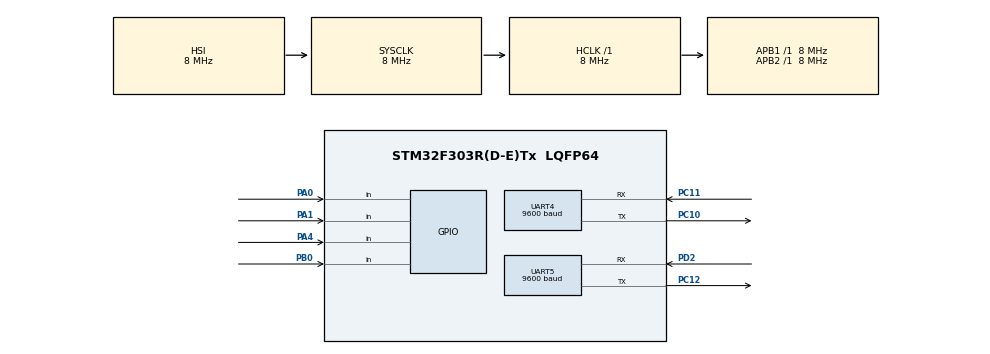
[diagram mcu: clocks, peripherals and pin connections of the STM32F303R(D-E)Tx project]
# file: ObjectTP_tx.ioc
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Mcu.Family=STM32F3
Mcu.Name=STM32F303R(D-E)Tx
Mcu.Package=LQFP64
NVIC.PriorityGroup=NVIC_PRIORITYGROUP_4
NVIC.UART4_IRQn=true\:0\:0\:false\:false\:true\:true\:true
NVIC.UART5_IRQn=true\:0\:0\:false\:false\:true\:true\:true
PA0.GPIO_PuPd=GPIO_PULLDOWN
PA0.Signal=GPIO_Input
PA1.GPIO_PuPd=GPIO_PULLDOWN
PA1.Signal=GPIO_Input
PA4.Signal=GPIO_Input
PB0.Signal=GPIO_Input
PC10.Mode=Asynchronous
PC10.Signal=UART4_TX
PC11.Mode=Asynchronous
PC11.Signal=UART4_RX
PC12.Mode=Asynchronous
PC12.Signal=UART5_TX
PD2.Mode=Asynchronous
PD2.Signal=UART5_RX
PF0-OSC_IN.Mode=HSE-External-Oscillator
PF0-OSC_IN.Signal=RCC_OSC_IN
PF1-OSC_OUT.Mode=HSE-External-Oscillator
PF1-OSC_OUT.Signal=RCC_OSC_OUT
ProjectManager.HeapSize=0x200
ProjectManager.StackSize=0x400
ProjectManager.TargetToolchain=MDK-ARM V5
RCC.AHBFreq_Value=8000000
RCC.APB1Freq_Value=8000000
RCC.APB2Freq_Value=8000000
RCC.CortexFreq_Value=8000000
RCC.HSE_VALUE=8000000
RCC.HSI_VALUE=8000000
RCC.LSE_VALUE=32768
RCC.SYSCLKFreq_VALUE=8000000
RCC.USBFreq_Value=16000000
UART4.BaudRate=9600
UART5.BaudRate=9600
board=custom

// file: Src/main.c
/* USER CODE BEGIN Header */
/**
  ******************************************************************************
  * @file           : main.c
  * @brief          : Main program body
  ******************************************************************************
  * @attention
  *
  * <h2><center>&copy; Copyright (c) 2019 STMicroelectronics.
  * All rights reserved.</center></h2>
  *
  * This software component is licensed by ST under BSD 3-Clause license,
  * the "License"; You may not use this file except in compliance with the
  * License. You may obtain a copy of the License at:
  *                        opensource.org/licenses/BSD-3-Clause
  *
  ******************************************************************************
  */
/* USER CODE END Header */

#include "main.h"

/* USER CODE BEGIN Includes */
#include <stdio.h>
#include <stdlib.h>
#include <math.h>
#include <stdbool.h>
/* USER CODE END Includes */

/* USER CODE BEGIN PD */
#define PI 3.14159265359
#define R 6371008.8

/* USER CODE END PD */

UART_HandleTypeDef huart4;
UART_HandleTypeDef huart5;

/* USER CODE BEGIN PV */
uint8_t rx_data[700];

char latitude_degrees[2];
char longitude_degrees[3];
char latitude_minutes[8];
char longitude_minutes[8];
char tell_time[9];

float Lat_in_DD,Long_in_DD,utc_time;

int x;
float  y;

float Lat0,Long0;
float Lat1,Long1;
float Lat2,Long2;

double lat0,lat1,lat2;
double long0,long1,long2;
double dx10,dy10,a10,c10,d10;
double dx20,dy20,a20,c20,d20;
double dx21,dy21,a21,c21,d21;
double Ctheta,angle;
double ax,ay,bx,by,cz;

double final_angle;
char buffer[10];

/* USER CODE END PV */

void SystemClock_Config(void);
static void MX_GPIO_Init(void);
static void MX_UART4_Init(void);
static void MX_UART5_Init(void);

/* USER CODE BEGIN 0 */
void HAL_UART_RxCpltCallback(UART_HandleTypeDef *huart){
	HAL_UART_Receive(&huart5,rx_data,sizeof rx_data,500);
	printf("%s \n\r",rx_data);
}
void float_to_char(){
	int ret = snprintf(buffer, sizeof buffer, "%f", final_angle);
}
/* USER CODE END 0 */

int main(void)
{

  /* MCU Configuration--------------------------------------------------------*/

  /* Reset of all peripherals, Initializes the Flash interface and the Systick. */
  HAL_Init();

  /* Configure the system clock */
  SystemClock_Config();

  /* Initialize all configured peripherals */
  MX_GPIO_Init();
  MX_UART4_Init();
  MX_UART5_Init();

  /* Infinite loop */
  while (1)
  {

    /* USER CODE BEGIN 3 */
		// NEO6-MV2 GPS UART collect data recived at port UART5
		HAL_UART_Receive_IT(&huart5,rx_data,sizeof rx_data);
		//to find index of required data in NMEA format
		for(int i=0;i<1200;i++){
			if (rx_data[i] == '$'){
				if(rx_data[i+1] == 'G'){
					if(rx_data[i+2] == 'P' || rx_data[i+2] =='N'){
						if(rx_data[i+3] == 'G'){
							if(rx_data[i+4] == 'L'){
								if(rx_data[i+5] == 'L'){
									if(rx_data[i+44] == 'A'){
										//LAT
										//LAT DEGREE COMPONENT
										latitude_degrees[0] = rx_data[i+7];
										latitude_degrees[1] = rx_data[i+8];
										//LAT DECIMAL MINUTE COMPONENT
										latitude_minutes[0] = rx_data[i+9];
										latitude_minutes[1] = rx_data[i+10];
										latitude_minutes[2] = rx_data[i+11];
										latitude_minutes[3] = rx_data[i+12];
										latitude_minutes[4] = rx_data[i+13];
										latitude_minutes[5] = rx_data[i+14];
										latitude_minutes[6] = rx_data[i+15];
										latitude_minutes[7] = rx_data[i+16];
										//LONG
										//LONG DEGREE COMPONENT
										longitude_degrees[0] = rx_data[i+20];
										longitude_degrees[1] = rx_data[i+21];
										longitude_degrees[2] = rx_data[i+22];
										//LONG DECIMAL MINUTE COMPONENT
										longitude_minutes[0] = rx_data[i+23];
										longitude_minutes[1] = rx_data[i+24];
										longitude_minutes[2] = rx_data[i+25];
										longitude_minutes[3] = rx_data[i+26];
										longitude_minutes[4] = rx_data[i+27];
										longitude_minutes[5] = rx_data[i+28];
										longitude_minutes[6] = rx_data[i+29];
										longitude_minutes[7] = rx_data[i+30];
										//TIME
										tell_time[0] = rx_data[i+34];
										tell_time[1] = rx_data[i+35];
										tell_time[2] = rx_data[i+36];
										tell_time[3] = rx_data[i+37];
										tell_time[4] = rx_data[i+38];
										tell_time[5] = rx_data[i+39];
										tell_time[6] = rx_data[i+40];
										tell_time[7] = rx_data[i+41];
										tell_time[8] = rx_data[i+42];
									}else{
										printf("invalid data \n\r");
										break;
									}
								}
							}
						}
					}
				}
			}
		}

    // Char array to floats
		x = 17;//atof(latitude_degrees);
		y = atof(latitude_minutes);
		Lat_in_DD = x+(y/60);
		//Lat_in_DD = atof(latitude_degrees)+(atof(latitude_minutes)/60);
		Long_in_DD = atof(longitude_degrees)+(atof(longitude_minutes)/60);
		utc_time = atof(tell_time);

    // Buttons & data processing
		if(HAL_GPIO_ReadPin(GPIOA,GPIO_PIN_0) == GPIO_PIN_SET){
      // Button 1 to set location of stepper
			Lat0 = Lat_in_DD;
			Long0 = Long_in_DD;
		}
		if(HAL_GPIO_ReadPin(GPIOA,GPIO_PIN_1) == GPIO_PIN_SET){
      // Button 2 to set location of initial line
			Lat1 = Lat_in_DD;
			Long1 = Long_in_DD;
		}
		if(HAL_GPIO_ReadPin(GPIOA,GPIO_PIN_4) == GPIO_PIN_SET){
      // Button 3 to set location of second line
			Lat2 = Lat_in_DD;
			Long2 = Long_in_DD;
		}
		if(HAL_GPIO_ReadPin(GPIOB,GPIO_PIN_0) == GPIO_PIN_SET){
      // Button 4 to set new line/s and trasnmit data
			//old line
			Lat1 = Lat2;
			Long1 = Long2;
			//new line
			Lat2 = Lat_in_DD;
			Long2 = Long_in_DD;

      /*a = sin²(Δφ/2) + cos φ1 ⋅ cos φ2 ⋅ sin²(Δλ/2)
      c = 2 ⋅ atan2( √a, √(1−a) )
      d = R ⋅ c*/

      lat0 = Lat0 * (PI / 180); long0 = Long0 * (PI / 180);
      lat1 = Lat1 * (PI / 180); long1 = Long1 * (PI / 180);
      lat2 = Lat2 * (PI / 180); long2 = Long2 * (PI / 180);

      dx10 = long1 - long0;
      dy10 = lat1 - lat0;

      a10 = pow(sin(dy10 / 2), 2) + cos(lat0) * cos(lat1) * pow(sin(dx10 / 2), 2);
      c10 = 2 * atan2(sqrt(a10), sqrt(1 - a10));
      d10 = R * c10;

      dx20 = long2 - long0;
      dy20 = lat2 - lat0;

      a20 = pow(sin(dy20 / 2), 2) + cos(lat0) * cos(lat2) * pow(sin(dx20 / 2), 2);
      c20 = 2 * atan2(sqrt(a20), sqrt(1 - a20));
      d20 = R * c20; // distance between new line and stepper;

      dx21 = long2 - long1;
      dy21 = lat2 - lat1;

      a21 = pow(sin(dy21 / 2), 2) + cos(lat1) * cos(lat2) * pow(sin(dx21 / 2), 2);
      c21 = 2 * atan2(sqrt(a21), sqrt(1 - a21));
      d21 = R * c21;
      //d21 = a, d10 = b, d20 = c
      Ctheta = (pow(d10, 2) + pow(d20, 2) - pow(d21, 2)) / (2 * d10 * d20);
      angle = acos(Ctheta);
      angle = angle * (180 / PI);
      //printf("angle = %f\n", angle);

      ax = Long1 - Long0;
      ay = Lat1 - Lat0;
      bx = Long2 - Long0;
      by = Lat2 - Lat0;
      cz = (ax * by) - (ay * bx);
      //printf("%.17g \n", cz); 17d 9f

      if (cz < 0)
      {
        final_angle = (-1)*angle;
      }
      else if (cz > 0)
      {
        final_angle = angle;
      }

      /*diff_m = (mslope2 - mslope1) / (1 + (mslope1 * mslope2));
			angle_rad = atan(diff_m);
			final_angle = (atan(angle_rad))*(180/PI);*/
			//float to char*
			//char* ftoa(double final_angle,char* test_tx);
			float_to_char();
			//UART-4 FOR BLUETOOTH
			HAL_UART_Transmit(&huart4,buffer,sizeof buffer,100);

		}
		HAL_Delay(400);

  }
  /* USER CODE END 3 */
}

void SystemClock_Config(void)
{
  RCC_OscInitTypeDef RCC_OscInitStruct = {0};
  RCC_ClkInitTypeDef RCC_ClkInitStruct = {0};
  RCC_PeriphCLKInitTypeDef PeriphClkInit = {0};

  /** Initializes the CPU, AHB and APB busses clocks
  */
  RCC_OscInitStruct.OscillatorType = RCC_OSCILLATORTYPE_HSI;
  RCC_OscInitStruct.HSIState = RCC_HSI_ON;
  RCC_OscInitStruct.HSICalibrationValue = RCC_HSICALIBRATION_DEFAULT;
  RCC_OscInitStruct.PLL.PLLState = RCC_PLL_NONE;
  if (HAL_RCC_OscConfig(&RCC_OscInitStruct) != HAL_OK)
  {
    Error_Handler();
  }
  /** Initializes the CPU, AHB and APB busses clocks
  */
  RCC_ClkInitStruct.ClockType = RCC_CLOCKTYPE_HCLK|RCC_CLOCKTYPE_SYSCLK
                              |RCC_CLOCKTYPE_PCLK1|RCC_CLOCKTYPE_PCLK2;
  RCC_ClkInitStruct.SYSCLKSource = RCC_SYSCLKSOURCE_HSI;
  RCC_ClkInitStruct.AHBCLKDivider = RCC_SYSCLK_DIV1;
  RCC_ClkInitStruct.APB1CLKDivider = RCC_HCLK_DIV1;
  RCC_ClkInitStruct.APB2CLKDivider = RCC_HCLK_DIV1;

  if (HAL_RCC_ClockConfig(&RCC_ClkInitStruct, FLASH_LATENCY_0) != HAL_OK)
  {
    Error_Handler();
  }
  PeriphClkInit.PeriphClockSelection = RCC_PERIPHCLK_UART4|RCC_PERIPHCLK_UART5;
  PeriphClkInit.Uart4ClockSelection = RCC_UART4CLKSOURCE_PCLK1;
  PeriphClkInit.Uart5ClockSelection = RCC_UART5CLKSOURCE_PCLK1;
  if (HAL_RCCEx_PeriphCLKConfig(&PeriphClkInit) != HAL_OK)
  {
    Error_Handler();
  }
}

static void MX_UART4_Init(void)
{

  huart4.Instance = UART4;
  huart4.Init.BaudRate = 9600;
  huart4.Init.WordLength = UART_WORDLENGTH_8B;
  huart4.Init.StopBits = UART_STOPBITS_1;
  huart4.Init.Parity = UART_PARITY_NONE;
  huart4.Init.Mode = UART_MODE_TX_RX;
  huart4.Init.HwFlowCtl = UART_HWCONTROL_NONE;
  huart4.Init.OverSampling = UART_OVERSAMPLING_16;
  huart4.Init.OneBitSampling = UART_ONE_BIT_SAMPLE_DISABLE;
  huart4.AdvancedInit.AdvFeatureInit = UART_ADVFEATURE_NO_INIT;
  if (HAL_UART_Init(&huart4) != HAL_OK)
  {
    Error_Handler();
  }

}

static void MX_UART5_Init(void)
{

  huart5.Instance = UART5;
  huart5.Init.BaudRate = 9600;
  huart5.Init.WordLength = UART_WORDLENGTH_8B;
  huart5.Init.StopBits = UART_STOPBITS_1;
  huart5.Init.Parity = UART_PARITY_NONE;
  huart5.Init.Mode = UART_MODE_TX_RX;
  huart5.Init.HwFlowCtl = UART_HWCONTROL_NONE;
  huart5.Init.OverSampling = UART_OVERSAMPLING_16;
  huart5.Init.OneBitSampling = UART_ONE_BIT_SAMPLE_DISABLE;
  huart5.AdvancedInit.AdvFeatureInit = UART_ADVFEATURE_NO_INIT;
  if (HAL_UART_Init(&huart5) != HAL_OK)
  {
    Error_Handler();
  }

}

static void MX_GPIO_Init(void)
{
  GPIO_InitTypeDef GPIO_InitStruct = {0};

  /* GPIO Ports Clock Enable */
  __HAL_RCC_GPIOF_CLK_ENABLE();
  __HAL_RCC_GPIOA_CLK_ENABLE();
  __HAL_RCC_GPIOB_CLK_ENABLE();
  __HAL_RCC_GPIOC_CLK_ENABLE();
  __HAL_RCC_GPIOD_CLK_ENABLE();

  /*Configure GPIO pins : PA0 PA1 */
  GPIO_InitStruct.Pin = GPIO_PIN_0|GPIO_PIN_1;
  GPIO_InitStruct.Mode = GPIO_MODE_INPUT;
  GPIO_InitStruct.Pull = GPIO_PULLDOWN;
  HAL_GPIO_Init(GPIOA, &GPIO_InitStruct);

  /*Configure GPIO pin : PA4 */
  GPIO_InitStruct.Pin = GPIO_PIN_4;
  GPIO_InitStruct.Mode = GPIO_MODE_INPUT;
  GPIO_InitStruct.Pull = GPIO_NOPULL;
  HAL_GPIO_Init(GPIOA, &GPIO_InitStruct);

  /*Configure GPIO pin : PB0 */
  GPIO_InitStruct.Pin = GPIO_PIN_0;
  GPIO_InitStruct.Mode = GPIO_MODE_INPUT;
  GPIO_InitStruct.Pull = GPIO_NOPULL;
  HAL_GPIO_Init(GPIOB, &GPIO_InitStruct);

}

void Error_Handler(void)
{
}

/************************ (C) COPYRIGHT STMicroelectronics *****END OF FILE****/
